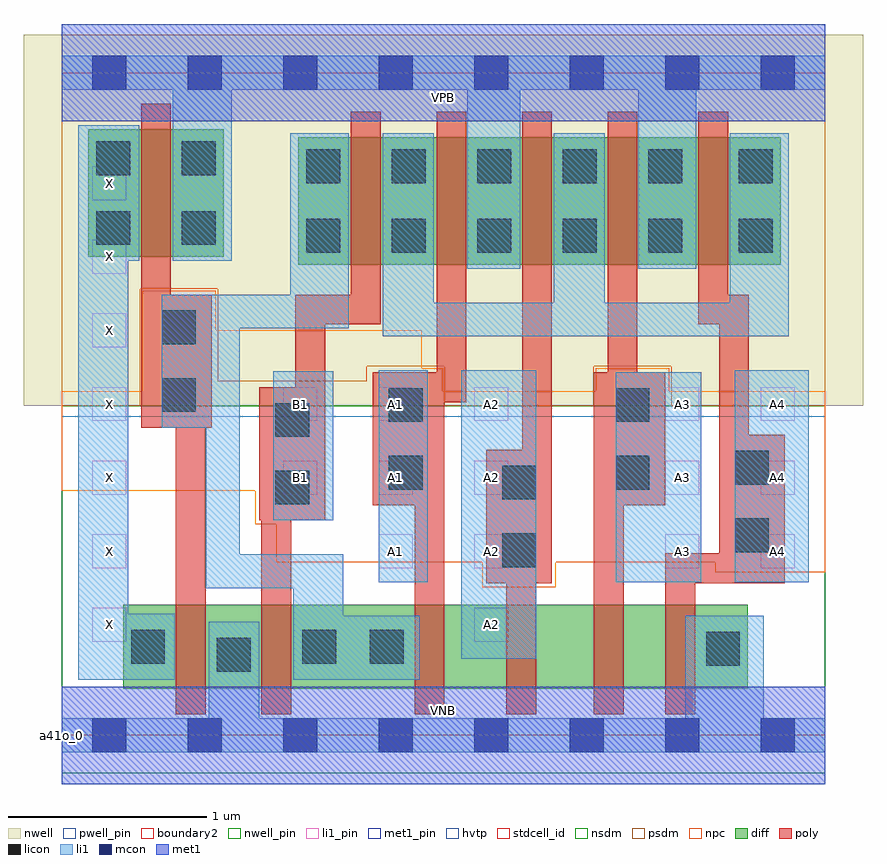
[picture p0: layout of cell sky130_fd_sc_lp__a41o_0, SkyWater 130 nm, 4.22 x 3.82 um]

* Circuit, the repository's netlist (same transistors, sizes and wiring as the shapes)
* Copyright 2020 The SkyWater PDK Authors
*
* Licensed under the Apache License, Version 2.0 (the "License");
* you may not use this file except in compliance with the License.
* You may obtain a copy of the License at
*
*     https://www.apache.org/licenses/LICENSE-2.0
*
* Unless required by applicable law or agreed to in writing, software
* distributed under the License is distributed on an "AS IS" BASIS,
* WITHOUT WARRANTIES OR CONDITIONS OF ANY KIND, either express or implied.
* See the License for the specific language governing permissions and
* limitations under the License.
*
* SPDX-License-Identifier: Apache-2.0

.SUBCKT sky130_fd_sc_lp__a41o_0 A1 A2 A3 A4 B1 VGND VNB VPB VPWR X
*.PININFO A1:I A2:I A3:I A4:I B1:I VGND:I VNB:I VPB:I VPWR:I X:O
MMPA0 pndA A1 VPWR VPB sky130_fd_pr__pfet_01v8_hvt m=1 w=0.64U l=0.15U mult=1 sa=0.265
+ sb=0.265 sd=0.28 area=0.063 perim=1.14
MMPA1 pndA A2 VPWR VPB sky130_fd_pr__pfet_01v8_hvt m=1 w=0.64U l=0.15U mult=1 sa=0.265
+ sb=0.265 sd=0.28 area=0.063 perim=1.14
MMPA2 pndA A3 VPWR VPB sky130_fd_pr__pfet_01v8_hvt m=1 w=0.64U l=0.15U mult=1 sa=0.265
+ sb=0.265 sd=0.28 area=0.063 perim=1.14
MMPA3 pndA A4 VPWR VPB sky130_fd_pr__pfet_01v8_hvt m=1 w=0.64U l=0.15U mult=1 sa=0.265
+ sb=0.265 sd=0.28 area=0.063 perim=1.14
MMPB0 y B1 pndA VPB sky130_fd_pr__pfet_01v8_hvt m=1 w=0.64U l=0.15U mult=1 sa=0.265
+ sb=0.265 sd=0.28 area=0.063 perim=1.14
MMIPX X y VPWR VPB sky130_fd_pr__pfet_01v8_hvt m=1 w=0.64U l=0.15U mult=1 sa=0.265
+ sb=0.265 sd=0.28 area=0.063 perim=1.14
MMNA0 y A1 sndA1 VNB sky130_fd_pr__nfet_01v8 m=1 w=0.42U l=0.15U mult=1 sa=0.265
+ sb=0.265 sd=0.28 area=0.063 perim=1.14
MMNA1 sndA1 A2 sndA2 VNB sky130_fd_pr__nfet_01v8 m=1 w=0.42U l=0.15U mult=1 sa=0.265
+ sb=0.265 sd=0.28 area=0.063 perim=1.14
MMNA2 sndA2 A3 sndA3 VNB sky130_fd_pr__nfet_01v8 m=1 w=0.42U l=0.15U mult=1 sa=0.265
+ sb=0.265 sd=0.28 area=0.063 perim=1.14
MMNA3 sndA3 A4 VGND VNB sky130_fd_pr__nfet_01v8 m=1 w=0.42U l=0.15U mult=1 sa=0.265
+ sb=0.265 sd=0.28 area=0.063 perim=1.14
MMNB0 y B1 VGND VNB sky130_fd_pr__nfet_01v8 m=1 w=0.42U l=0.15U mult=1 sa=0.265
+ sb=0.265 sd=0.28 area=0.063 perim=1.14
MMINX X y VGND VNB sky130_fd_pr__nfet_01v8 m=1 w=0.42U l=0.15U mult=1 sa=0.265
+ sb=0.265 sd=0.28 area=0.063 perim=1.14
.ENDS sky130_fd_sc_lp__a41o_0

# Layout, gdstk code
import gdstk
lib = gdstk.Library(unit=1e-6, precision=1e-09)
def R(c, l, rs):  # rectangles x0, y0, x1, y1
    for r in rs: c.add(gdstk.rectangle(r[:2], r[2:], *l))
def A(c, l, x, y, w, h, nx, ny, dx, dy):  # array of equal rectangles
    R(c, l, [(x+i*dx, y+j*dy, x+i*dx+w, y+j*dy+h) for i in range(nx) for j in range(ny)])
def P(c, l, *ps):  # polygons
    for p in ps: c.add(gdstk.Polygon(p, *l))
nwell_pin = (64, 16)
nwell = (64, 20)
diff = (65, 20)
poly = (66, 20)
licon = (66, 44)
li1_pin = (67, 16)
li1 = (67, 20)
mcon = (67, 44)
met1_pin = (68, 16)
met1 = (68, 20)
hvtp = (78, 44)
stdcell_id = (81, 4)
nsdm = (93, 44)
psdm = (94, 20)
npc = (95, 20)
pwell_pin = (122, 16)
boundary2 = (236, 0)

sky130_fd_sc_lp__a41o_0 = lib.new_cell('sky130_fd_sc_lp__a41o_0')
R(sky130_fd_sc_lp__a41o_0, nwell_pin, [(0,3.085,3.84,3.33)])
R(sky130_fd_sc_lp__a41o_0, nwell, [(-0.19,1.655,4.03,3.52)])
R(sky130_fd_sc_lp__a41o_0, diff, [(0.31,0.235,3.45,0.655), (1.19,2.365,3.615,3.005), (0.135,2.405,0.815,3.045)])
P(sky130_fd_sc_lp__a41o_0, poly, [(2.465,3.135),(2.315,3.135),(2.315,1.435),(2.135,1.435),(2.135,0.765),(2.235,0.765),(2.235,0.105),(2.385,0.105),(2.385,0.765),(2.465,0.765)],
  [(1.605,3.135),(1.455,3.135),(1.455,2.215),(1.175,2.215),(1.175,1.75),(0.995,1.75),(0.995,1.08),(1.005,1.08),(1.005,0.105),(1.155,0.105),(1.155,1.08),(1.325,1.08),(1.325,2.065),(1.605,2.065)],
  [(2.035,3.135),(1.885,3.135),(1.885,1.825),(1.565,1.825),(1.565,1.155),(1.775,1.155),(1.775,0.105),(1.925,0.105),(1.925,1.675),(2.035,1.675)],
  [(3.035,1.825),(2.895,1.825),(2.895,3.135),(2.745,3.135),(2.745,1.825),(2.675,1.825),(2.675,0.105),(2.825,0.105),(2.825,1.155),(3.035,1.155)],
  [(3.635,1.51),(3.455,1.51),(3.455,2.215),(3.35,2.215),(3.35,3.135),(3.2,3.135),(3.2,2.065),(3.305,2.065),(3.305,0.915),(3.035,0.915),(3.035,0.105),(3.185,0.105),(3.185,0.765),(3.635,0.765)],
  [(0.755,2.215),(0.55,2.215),(0.55,3.175),(0.4,3.175),(0.4,1.545),(0.575,1.545),(0.575,0.105),(0.725,0.105),(0.725,1.545),(0.755,1.545)])
A(sky130_fd_sc_lp__a41o_0, licon, 1.23, 2.425, 0.17, 0.17, 5, 2, 0.43, 0.35)
R(sky130_fd_sc_lp__a41o_0, licon, [(0.78,0.32,0.95,0.49), (3.24,0.35,3.41,0.52), (0.35,0.36,0.52,0.53), (1.21,0.36,1.38,0.53), (1.55,0.36,1.72,0.53), (2.215,0.845,2.385,1.015), (3.385,0.92,3.555,1.09), (1.075,1.16,1.245,1.33), (2.215,1.185,2.385,1.355), (1.645,1.235,1.815,1.405), (2.785,1.235,2.955,1.405), (3.385,1.26,3.555,1.43), (1.075,1.5,1.245,1.67), (1.645,1.575,1.815,1.745), (2.785,1.575,2.955,1.745), (0.505,1.625,0.675,1.795), (0.505,1.965,0.675,2.135), (3.405,2.425,3.575,2.595), (0.175,2.465,0.345,2.635), (0.605,2.465,0.775,2.635), (3.405,2.775,3.575,2.945), (0.175,2.815,0.345,2.985), (0.605,2.815,0.775,2.985)])
A(sky130_fd_sc_lp__a41o_0, li1_pin, 0.155, 0.47, 0.17, 0.17, 1, 7, 0, 0.37)
A(sky130_fd_sc_lp__a41o_0, li1_pin, 3.035, 0.84, 0.17, 0.17, 1, 3, 0, 0.37)
A(sky130_fd_sc_lp__a41o_0, li1_pin, 3.515, 0.84, 0.17, 0.17, 1, 3, 0, 0.37)
A(sky130_fd_sc_lp__a41o_0, li1_pin, 1.115, 1.21, 0.17, 0.17, 3, 2, 0.48, 0.37)
R(sky130_fd_sc_lp__a41o_0, li1_pin, [(2.075,0.47,2.245,0.64), (1.595,0.84,1.765,1.01), (2.075,0.84,2.245,1.01)])
R(sky130_fd_sc_lp__a41o_0, li1, [(2.01,0.385,2.385,1.835), (1.595,0.77,1.84,1.835), (2.785,0.77,3.215,1.825), (3.385,0.77,3.755,1.835), (1.065,1.08,1.365,1.83)])
P(sky130_fd_sc_lp__a41o_0, li1, [(3.655,3.025),(3.36,3.025),(3.36,2.175),(2.73,2.175),(2.73,3.025),(2.475,3.025),(2.475,2.175),(1.87,2.175),(1.87,3.025),(1.615,3.025),(1.615,2.005),(3.655,2.005)],
  [(1.8,0.6),(1.415,0.6),(1.415,0.91),(0.895,0.91),(0.895,2.045),(1.445,2.045),(1.445,3.025),(1.15,3.025),(1.15,2.215),(0.505,2.215),(0.505,1.545),(0.725,1.545),(0.725,0.74),(1.165,0.74),(1.165,0.28),(1.8,0.28)],
  [(0.57,0.61),(0.335,0.61),(0.335,2.385),(0.39,2.385),(0.39,3.065),(0.085,3.065),(0.085,0.28),(0.57,0.28)],
  [(3.84,3.415),(0,3.415),(0,3.245),(0.56,3.245),(0.56,2.385),(0.855,2.385),(0.855,3.245),(2.04,3.245),(2.04,2.345),(2.305,2.345),(2.305,3.245),(2.9,3.245),(2.9,2.345),(3.19,2.345),(3.19,3.245),(3.84,3.245)],
  [(3.84,0.085),(3.53,0.085),(3.53,0.6),(3.135,0.6),(3.135,0.085),(0.995,0.085),(0.995,0.57),(0.74,0.57),(0.74,0.085),(0,0.085),(0,-0.085),(3.84,-0.085)])
A(sky130_fd_sc_lp__a41o_0, mcon, 0.155, -0.085, 0.17, 0.17, 8, 2, 0.48, 3.33)
R(sky130_fd_sc_lp__a41o_0, met1_pin, [(0,0,3.84,0.245), (0,3.085,3.84,3.33)])
R(sky130_fd_sc_lp__a41o_0, met1, [(0,-0.245,3.84,0.245), (0,3.085,3.84,3.575)])
R(sky130_fd_sc_lp__a41o_0, hvtp, [(0,1.6,3.84,3.33)])
R(sky130_fd_sc_lp__a41o_0, stdcell_id, [(0,0,3.84,3.33)])
R(sky130_fd_sc_lp__a41o_0, nsdm, [(0,-0.19,3.84,1.655)])
P(sky130_fd_sc_lp__a41o_0, psdm, [(3.84,3.52),(0,3.52),(0,1.655),(0.395,1.655),(0.395,2.245),(0.785,2.245),(0.785,1.78),(1.535,1.78),(1.535,1.855),(1.925,1.855),(1.925,1.655),(2.675,1.655),(2.675,1.855),(3.065,1.855),(3.065,1.655),(3.84,1.655)])
P(sky130_fd_sc_lp__a41o_0, npc, [(3.84,1.73),(3.055,1.73),(3.055,1.845),(2.685,1.845),(2.685,1.73),(1.915,1.73),(1.915,1.845),(1.81,1.845),(1.81,2.035),(0.775,2.035),(0.775,2.235),(0.405,2.235),(0.405,1.73),(0,1.73),(0,1.23),(0.975,1.23),(0.975,1.06),(1.08,1.06),(1.08,0.87),(2.115,0.87),(2.115,0.745),(2.485,0.745),(2.485,0.87),(3.285,0.87),(3.285,0.82),(3.84,0.82)])
R(sky130_fd_sc_lp__a41o_0, pwell_pin, [(0,0,3.84,0.245)])
R(sky130_fd_sc_lp__a41o_0, boundary2, [(0,0,3.84,3.33)])
sky130_fd_sc_lp__a41o_0.add(gdstk.Label('VNB', (1.92,0.123), layer=64, texttype=59))
sky130_fd_sc_lp__a41o_0.add(gdstk.Label('VPB', (1.92,3.208), layer=64, texttype=5))
sky130_fd_sc_lp__a41o_0.add(gdstk.Label('a41o_0', (0,0), layer=83, texttype=44))
sky130_fd_sc_lp__a41o_0.add(gdstk.Label('VPWR', (1.92,3.208), layer=68, texttype=5))
sky130_fd_sc_lp__a41o_0.add(gdstk.Label('VGND', (1.92,0.123), layer=68, texttype=5))
sky130_fd_sc_lp__a41o_0.add(gdstk.Label('A1', (1.68,0.925), layer=67, texttype=5))
sky130_fd_sc_lp__a41o_0.add(gdstk.Label('A1', (1.68,1.295), layer=67, texttype=5))
sky130_fd_sc_lp__a41o_0.add(gdstk.Label('A1', (1.68,1.665), layer=67, texttype=5))
sky130_fd_sc_lp__a41o_0.add(gdstk.Label('A2', (2.16,0.555), layer=67, texttype=5))
sky130_fd_sc_lp__a41o_0.add(gdstk.Label('A2', (2.16,0.925), layer=67, texttype=5))
sky130_fd_sc_lp__a41o_0.add(gdstk.Label('A2', (2.16,1.295), layer=67, texttype=5))
sky130_fd_sc_lp__a41o_0.add(gdstk.Label('A2', (2.16,1.665), layer=67, texttype=5))
sky130_fd_sc_lp__a41o_0.add(gdstk.Label('A3', (3.12,0.925), layer=67, texttype=5))
sky130_fd_sc_lp__a41o_0.add(gdstk.Label('A3', (3.12,1.295), layer=67, texttype=5))
sky130_fd_sc_lp__a41o_0.add(gdstk.Label('A3', (3.12,1.665), layer=67, texttype=5))
sky130_fd_sc_lp__a41o_0.add(gdstk.Label('A4', (3.6,0.925), layer=67, texttype=5))
sky130_fd_sc_lp__a41o_0.add(gdstk.Label('A4', (3.6,1.295), layer=67, texttype=5))
sky130_fd_sc_lp__a41o_0.add(gdstk.Label('A4', (3.6,1.665), layer=67, texttype=5))
sky130_fd_sc_lp__a41o_0.add(gdstk.Label('B1', (1.2,1.295), layer=67, texttype=5))
sky130_fd_sc_lp__a41o_0.add(gdstk.Label('B1', (1.2,1.665), layer=67, texttype=5))
sky130_fd_sc_lp__a41o_0.add(gdstk.Label('X', (0.24,0.555), layer=67, texttype=5))
sky130_fd_sc_lp__a41o_0.add(gdstk.Label('X', (0.24,0.925), layer=67, texttype=5))
sky130_fd_sc_lp__a41o_0.add(gdstk.Label('X', (0.24,1.295), layer=67, texttype=5))
sky130_fd_sc_lp__a41o_0.add(gdstk.Label('X', (0.24,1.665), layer=67, texttype=5))
sky130_fd_sc_lp__a41o_0.add(gdstk.Label('X', (0.24,2.035), layer=67, texttype=5))
sky130_fd_sc_lp__a41o_0.add(gdstk.Label('X', (0.24,2.405), layer=67, texttype=5))
sky130_fd_sc_lp__a41o_0.add(gdstk.Label('X', (0.24,2.775), layer=67, texttype=5))

lib.write_gds('sky130_fd_sc_lp__a41o_0.gds')
